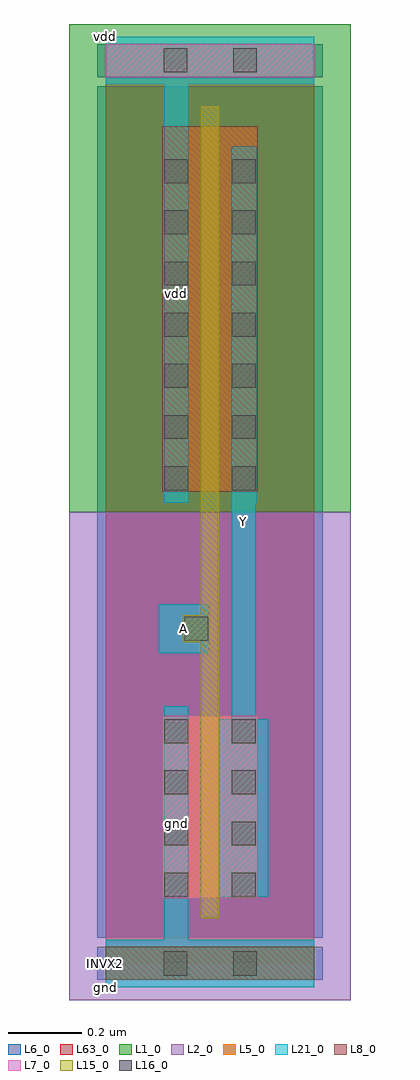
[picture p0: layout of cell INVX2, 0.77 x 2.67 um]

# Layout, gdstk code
import gdstk
lib = gdstk.Library(unit=1e-6, precision=1e-09)
def R(c, l, rs):  # rectangles x0, y0, x1, y1
    for r in rs: c.add(gdstk.rectangle(r[:2], r[2:], *l))
def A(c, l, x, y, w, h, nx, ny, dx, dy):  # array of equal rectangles
    R(c, l, [(x+i*dx, y+j*dy, x+i*dx+w, y+j*dy+h) for i in range(nx) for j in range(ny)])
def P(c, l, *ps):  # polygons
    for p in ps: c.add(gdstk.Polygon(p, *l))
L1_0 = (1, 0)
L2_0 = (2, 0)
L5_0 = (5, 0)
L6_0 = (6, 0)
L7_0 = (7, 0)
L8_0 = (8, 0)
L15_0 = (15, 0)
L16_0 = (16, 0)
L21_0 = (21, 0)
L63_0 = (63, 0)

invx2 = lib.new_cell('INVX2')
R(invx2, L1_0, [(-0.1,1.235,0.67,2.57)])
R(invx2, L2_0, [(-0.1,-0.1,0.67,1.235)])
R(invx2, L5_0, [(0,-0.045,0.57,0.045), (0.155,0.178,0.26,0.678), (0.26,0.178,0.31,0.678), (0.31,0.178,0.415,0.678), (0.155,1.29,0.26,2.29), (0.26,1.29,0.31,2.29), (0.31,1.29,0.415,2.29), (0,2.425,0.57,2.515)])
R(invx2, L6_0, [(-0.023,-0.045,0.593,0.045), (-0.023,-0.045,0.593,0.045), (-0.023,0.07,0.593,1.235), (-0.023,1.235,0.593,2.4), (-0.023,2.425,0.593,2.515), (-0.023,2.425,0.593,2.515)])
R(invx2, L7_0, [(0.155,0.178,0.26,0.678), (0.26,0.178,0.31,0.678), (0.31,0.178,0.415,0.678), (0,2.425,0.57,2.515)])
R(invx2, L8_0, [(0,-0.045,0.57,0.045), (0.155,1.29,0.26,2.29), (0.26,1.29,0.31,2.29), (0.31,1.29,0.415,2.29)])
R(invx2, L15_0, [(0.26,0.123,0.31,0.178), (0.26,0.178,0.31,0.678), (0.26,1.29,0.31,2.29), (0.26,2.29,0.31,2.345)])
P(invx2, L15_0, [(0.26,0.878),(0.21,0.878),(0.21,0.953),(0.26,0.953),(0.26,1.29),(0.31,1.29),(0.31,0.678),(0.26,0.678)])
A(invx2, L16_0, 0.16, 0.183, 0.065, 0.065, 1, 4, 0, 0.14)
A(invx2, L16_0, 0.345, 0.183, 0.065, 0.065, 1, 4, 0, 0.14)
A(invx2, L16_0, 0.16, 1.295, 0.065, 0.065, 1, 7, 0, 0.14)
A(invx2, L16_0, 0.345, 1.295, 0.065, 0.065, 1, 7, 0, 0.14)
R(invx2, L16_0, [(0.158,-0.033,0.223,0.033), (0.348,-0.033,0.413,0.033), (0.215,0.883,0.28,0.948), (0.158,2.438,0.223,2.503), (0.348,2.438,0.413,2.503)])
R(invx2, L21_0, [(0.145,0.848,0.28,0.983)])
P(invx2, L21_0, [(0,2.405),(0,2.535),(0.57,2.535),(0.57,2.405),(0.225,2.405),(0.225,1.26),(0.16,1.26),(0.16,2.405)],
  [(0,-0.065),(0,0.065),(0.16,0.065),(0.16,0.703),(0.225,0.703),(0.225,0.065),(0.57,0.065),(0.57,-0.065)],
  [(0.345,2.235),(0.413,2.235),(0.413,1.26),(0.41,1.26),(0.41,0.668),(0.445,0.668),(0.445,0.183),(0.31,0.183),(0.31,0.668),(0.345,0.668)])
R(invx2, L63_0, [(0,0,0.57,2.47)])
invx2.add(gdstk.Label('vdd', (0.193,1.833), layer=21, texttype=1))
invx2.add(gdstk.Label('gnd', (0.193,0.384), layer=21, texttype=1))
invx2.add(gdstk.Label('A', (0.213,0.915), layer=21, texttype=1))
invx2.add(gdstk.Label('Y', (0.378,1.209), layer=21, texttype=1))
invx2.add(gdstk.Label('vdd', (0,2.535), layer=21, texttype=2))
invx2.add(gdstk.Label('gnd', (0,-0.065), layer=21, texttype=2))
invx2.add(gdstk.Label('INVX2', (0,0), layer=63, texttype=1))

lib.write_gds('INVX2.gds')
